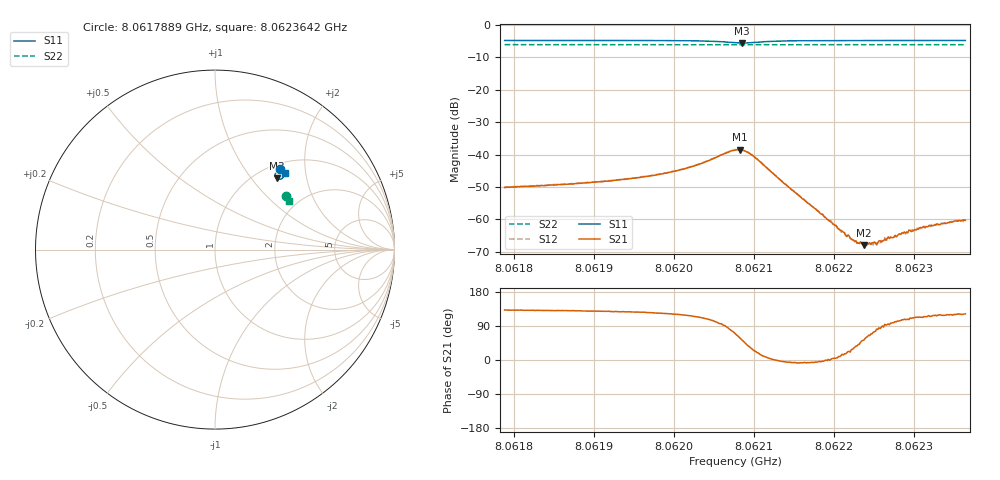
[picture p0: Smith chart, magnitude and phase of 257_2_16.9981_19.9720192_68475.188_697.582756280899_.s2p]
#  HZ  S  RI  R  50.00
! Rohde & Schwarz Vector Network Analyzer
! Rohde-Schwarz,ZNB20-2Port,1311601062101988,3.16
! Created: UTC 3/20/2024, 11:03:37 PM
! freq[Hz]  re:S11  im:S11  re:S21  im:S21  re:S12  im:S12  re:S22  im:S22
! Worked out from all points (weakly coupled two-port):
!   401 points, 8.0617889 GHz to 8.0623642 GHz, reference 50 ohm
!   highest |S21| = -38.48 dB at 8.0620823 GHz (marker M1); lowest = -68.0 dB at 8.0622376 GHz (marker M2)
!   lowest |S11| = -5.6 dB at 8.0620852 GHz (marker M3), VSWR 3.21, Z = 61.7 + j67.6 ohm
!   |S11| at or under -10 dB: nowhere
!   |S22| runs from -6.1 to -6.1 dB; largest |S21 - S12| = 0.00085
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8.06178887e9  0.3633 0.4468  -0.00207 0.0023  -0.00198 0.0025  0.3945 0.3013
8.06188523e9  0.3703 0.4406  -0.00228 0.00278  -0.00217 0.00293  0.398 0.2963
8.06194132e9  0.3749 0.4359  -0.00251 0.00334  -0.00237 0.00349  0.4 0.2935
8.0619816e9  0.3785 0.4307  -0.00274 0.00409  -0.00254 0.00432  0.4014 0.2912
8.06202618e9  0.3827 0.4199  -0.00282 0.0061  -0.00249 0.00635  0.4028 0.2886
8.06207652e9  0.3584 0.3916  0.00395 0.011  0.00479 0.011  0.4029 0.2854
8.06208228e9  0.3488 0.3939  0.00612 0.0102  0.00678 0.00987  0.4027 0.2852
8.06208515e9  0.3444 0.3966  0.00705 0.00933  0.0077 0.00906  0.4026 0.2855
8.06209234e9  0.3369 0.4067  0.00851 0.00666  0.009 0.00635  0.4026 0.2857
8.06210241e9  0.336 0.4219  0.00814 0.00334  0.00843 0.0028  0.4032 0.2859
8.06213261e9  0.3537 0.4388  0.00409 -0.000196  0.00411 -0.000456  0.4051 0.2849
8.06217289e9  0.3673 0.4385  0.00157 -0.000169  0.00157 -0.000253  0.4073 0.2827
8.06221891e9  0.3748 0.4353  0.000512 0.000216  0.000494 0.000164  0.409 0.2803
8.06222898e9  0.376 0.4346  0.00034 0.000259  0.000363 0.000233  0.4092 0.2797
8.06223761e9  0.3768 0.4341  0.00024 0.000318  0.000248 0.000361  0.4096 0.2793
8.06224336e9  0.3776 0.4336  0.000177 0.000387  0.000218 0.000352  0.4097 0.279
8.06225631e9  0.3788 0.4328  4.04e-05 0.000462  7.75e-05 0.000455  0.4101 0.2784
8.06226925e9  0.3801 0.4319  -2.62e-05 0.000505  -3.09e-05 0.00051  0.4106 0.2776
8.06230952e9  0.3835 0.4295  -0.000287 0.000676  -0.00024 0.000679  0.412 0.2757
8.06232103e9  0.3843 0.4288  -0.000344 0.000729  -0.000309 0.000716  0.4122 0.2751
8.06235123e9  0.3865 0.4271  -0.000465 0.000823  -0.000436 0.00084  0.4134 0.2735
8.06236418e9  0.3874 0.4264  -0.000511 0.00082  -0.000492 0.000842  0.4138 0.2728
